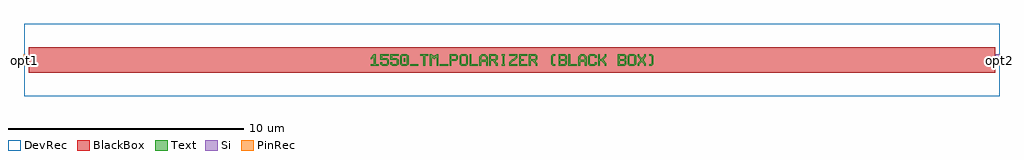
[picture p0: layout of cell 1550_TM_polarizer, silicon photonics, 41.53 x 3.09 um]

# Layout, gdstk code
import gdstk
lib = gdstk.Library(unit=1e-6, precision=1e-09)
def R(c, l, rs):  # rectangles x0, y0, x1, y1
    for r in rs: c.add(gdstk.rectangle(r[:2], r[2:], *l))
def P(c, l, *ps):  # polygons
    for p in ps: c.add(gdstk.Polygon(p, *l))
Si = (1, 0)
PinRec = (1, 10)
Text = (10, 0)
DevRec = (68, 0)
BlackBox = (998, 0)

text = lib.new_cell('TEXT')
R(text, Text, [(1.684,0,2.035,0.07), (2.947,0,3.298,0.07), (1.403,0.176,1.474,0.316)])
P(text, Text, [(0,0),(0,0.07),(0.14,0.07),(0.14,0.351),(0.105,0.351),(0.035,0.281),(0,0.281),(0,0.351),(0.14,0.491),(0.211,0.491),(0.211,0.07),(0.351,0.07),(0.351,0)],
  [(0.491,0),(0.421,0.07),(0.421,0.14),(0.491,0.14),(0.491,0.105),(0.526,0.07),(0.667,0.07),(0.702,0.105),(0.702,0.211),(0.667,0.246),(0.421,0.246),(0.421,0.491),(0.772,0.491),(0.772,0.421),(0.491,0.421),(0.491,0.316),(0.702,0.316),(0.772,0.246),(0.772,0.07),(0.702,0)],
  [(0.912,0),(0.842,0.07),(0.842,0.14),(0.912,0.14),(0.912,0.105),(0.947,0.07),(1.088,0.07),(1.123,0.105),(1.123,0.211),(1.088,0.246),(0.842,0.246),(0.842,0.491),(1.193,0.491),(1.193,0.421),(0.912,0.421),(0.912,0.316),(1.123,0.316),(1.193,0.246),(1.193,0.07),(1.123,0)],
  [(1.333,0),(1.263,0.07),(1.263,0.421),(1.333,0.491),(1.544,0.491),(1.614,0.421),(1.368,0.421),(1.333,0.386),(1.333,0.105),(1.368,0.07),(1.509,0.07),(1.544,0.105),(1.544,0.386),(1.509,0.421),(1.614,0.421),(1.614,0.07),(1.544,0)],
  [(2.245,0),(2.245,0.421),(2.105,0.421),(2.105,0.491),(2.456,0.491),(2.456,0.421),(2.316,0.421),(2.316,0)],
  [(2.526,0),(2.526,0.491),(2.596,0.491),(2.666,0.421),(2.737,0.421),(2.807,0.491),(2.877,0.491),(2.877,0),(2.807,0),(2.807,0.351),(2.772,0.351),(2.702,0.281),(2.631,0.351),(2.596,0.351),(2.596,0)],
  [(3.368,0),(3.368,0.491),(3.649,0.491),(3.719,0.421),(3.719,0.281),(3.649,0.211),(3.438,0.211),(3.438,0.281),(3.614,0.281),(3.649,0.316),(3.649,0.386),(3.614,0.421),(3.438,0.421),(3.438,0)],
  [(3.859,0),(3.789,0.07),(3.789,0.421),(3.859,0.491),(4.07,0.491),(4.14,0.421),(4.14,0.246),(4.07,0.246),(4.07,0.386),(4.035,0.421),(3.894,0.421),(3.859,0.386),(3.859,0.105),(3.894,0.07),(4.035,0.07),(4.07,0.105),(4.07,0.246),(4.14,0.246),(4.14,0.07),(4.07,0)],
  [(4.21,0),(4.21,0.491),(4.28,0.491),(4.28,0.07),(4.561,0.07),(4.561,0)],
  [(4.631,0),(4.631,0.386),(4.736,0.491),(4.877,0.491),(4.947,0.421),(4.771,0.421),(4.701,0.351),(4.701,0.246),(4.912,0.246),(4.912,0.351),(4.842,0.421),(4.947,0.421),(4.982,0.386),(4.982,0),(4.912,0),(4.912,0.176),(4.701,0.176),(4.701,0)],
  [(5.052,0),(5.052,0.491),(5.333,0.491),(5.403,0.421),(5.122,0.421),(5.122,0.281),(5.298,0.281),(5.333,0.316),(5.333,0.386),(5.298,0.421),(5.403,0.421),(5.403,0.281),(5.333,0.211),(5.333,0.176),(5.403,0.105),(5.403,0),(5.333,0),(5.333,0.07),(5.192,0.211),(5.122,0.211),(5.122,0)],
  [(5.578,0),(5.578,0.07),(5.613,0.07),(5.613,0.421),(5.578,0.421),(5.578,0.491),(5.719,0.491),(5.719,0.421),(5.684,0.421),(5.684,0.07),(5.719,0.07),(5.719,0)],
  [(5.894,0),(5.894,0.14),(6.034,0.281),(6.07,0.281),(6.175,0.386),(6.175,0.421),(5.894,0.421),(5.894,0.491),(6.245,0.491),(6.245,0.351),(6.105,0.211),(6.07,0.211),(5.964,0.105),(5.964,0.07),(6.245,0.07),(6.245,0)],
  [(6.315,0),(6.315,0.491),(6.666,0.491),(6.666,0.421),(6.385,0.421),(6.385,0.281),(6.526,0.281),(6.526,0.211),(6.385,0.211),(6.385,0.07),(6.666,0.07),(6.666,0)],
  [(6.736,0),(6.736,0.491),(7.017,0.491),(7.087,0.421),(6.806,0.421),(6.806,0.281),(6.982,0.281),(7.017,0.316),(7.017,0.386),(6.982,0.421),(7.087,0.421),(7.087,0.281),(7.017,0.211),(7.017,0.176),(7.087,0.105),(7.087,0),(7.017,0),(7.017,0.07),(6.876,0.211),(6.806,0.211),(6.806,0)],
  [(7.754,0),(7.683,0.07),(7.683,0.421),(7.754,0.491),(7.859,0.491),(7.859,0.421),(7.789,0.421),(7.754,0.386),(7.754,0.105),(7.789,0.07),(7.859,0.07),(7.859,0)],
  [(7.999,0),(7.999,0.491),(8.28,0.491),(8.35,0.421),(8.069,0.421),(8.069,0.281),(8.245,0.281),(8.28,0.316),(8.28,0.386),(8.245,0.421),(8.35,0.421),(8.35,0.281),(8.315,0.246),(8.35,0.211),(8.069,0.211),(8.069,0.07),(8.245,0.07),(8.28,0.105),(8.28,0.176),(8.245,0.211),(8.35,0.211),(8.35,0.07),(8.28,0)],
  [(8.42,0),(8.42,0.491),(8.49,0.491),(8.49,0.07),(8.771,0.07),(8.771,0)],
  [(8.841,0),(8.841,0.386),(8.946,0.491),(9.087,0.491),(9.157,0.421),(8.981,0.421),(8.911,0.351),(8.911,0.246),(9.122,0.246),(9.122,0.351),(9.052,0.421),(9.157,0.421),(9.192,0.386),(9.192,0),(9.122,0),(9.122,0.176),(8.911,0.176),(8.911,0)],
  [(9.332,0),(9.262,0.07),(9.262,0.421),(9.332,0.491),(9.543,0.491),(9.613,0.421),(9.613,0.351),(9.543,0.351),(9.543,0.386),(9.508,0.421),(9.367,0.421),(9.332,0.386),(9.332,0.105),(9.367,0.07),(9.508,0.07),(9.543,0.105),(9.543,0.14),(9.613,0.14),(9.613,0.07),(9.543,0)],
  [(9.683,0),(9.683,0.491),(9.753,0.491),(9.753,0.281),(9.823,0.281),(9.964,0.421),(9.964,0.491),(10.034,0.491),(10.034,0.386),(9.894,0.246),(10.034,0.105),(10.034,0),(9.964,0),(9.964,0.07),(9.823,0.211),(9.753,0.211),(9.753,0)],
  [(10.525,0),(10.525,0.491),(10.806,0.491),(10.876,0.421),(10.595,0.421),(10.595,0.281),(10.771,0.281),(10.806,0.316),(10.806,0.386),(10.771,0.421),(10.876,0.421),(10.876,0.281),(10.841,0.246),(10.876,0.211),(10.595,0.211),(10.595,0.07),(10.771,0.07),(10.806,0.105),(10.806,0.176),(10.771,0.211),(10.876,0.211),(10.876,0.07),(10.806,0)],
  [(11.016,0),(10.946,0.07),(10.946,0.421),(11.016,0.491),(11.227,0.491),(11.297,0.421),(11.297,0.246),(11.227,0.246),(11.227,0.386),(11.192,0.421),(11.051,0.421),(11.016,0.386),(11.016,0.105),(11.051,0.07),(11.192,0.07),(11.227,0.105),(11.227,0.246),(11.297,0.246),(11.297,0.07),(11.227,0)],
  [(11.367,0),(11.367,0.105),(11.472,0.211),(11.472,0.281),(11.367,0.386),(11.367,0.491),(11.437,0.491),(11.437,0.421),(11.543,0.316),(11.648,0.421),(11.648,0.491),(11.718,0.491),(11.718,0.386),(11.613,0.281),(11.613,0.211),(11.718,0.105),(11.718,0),(11.648,0),(11.648,0.07),(11.543,0.176),(11.437,0.07),(11.437,0)],
  [(11.858,0),(11.858,0.07),(11.928,0.07),(11.964,0.105),(11.964,0.386),(11.928,0.421),(11.858,0.421),(11.858,0.491),(11.964,0.491),(12.034,0.421),(12.034,0.07),(11.964,0)])

c_1550_tm_polarizer = lib.new_cell('1550_TM_polarizer')
R(c_1550_tm_polarizer, Si, [(-20.965,-0.17,-20.765,0.33), (20.345,-0.17,20.545,0.33)])
R(c_1550_tm_polarizer, DevRec, [(-20.965,-1.466,20.545,1.626)])
R(c_1550_tm_polarizer, BlackBox, [(-20.765,-0.466,20.345,0.626)])
c_1550_tm_polarizer.add(gdstk.FlexPath([(-20.955,0.08),(-20.975,0.08)], 0.5, ends="flush", simple_path=True, layer=1, datatype=10))  # PinRec
c_1550_tm_polarizer.add(gdstk.FlexPath([(20.535,0.08),(20.555,0.08)], 0.5, ends="flush", simple_path=True, layer=1, datatype=10))  # PinRec
c_1550_tm_polarizer.add(gdstk.Reference(text, (-6.227,-0.165)))
c_1550_tm_polarizer.add(gdstk.Label('opt1', (-20.965,0.08), layer=1, texttype=10))
c_1550_tm_polarizer.add(gdstk.Label('opt2', (20.545,0.08), layer=1, texttype=10))

lib.write_gds('1550_TM_polarizer.gds')
